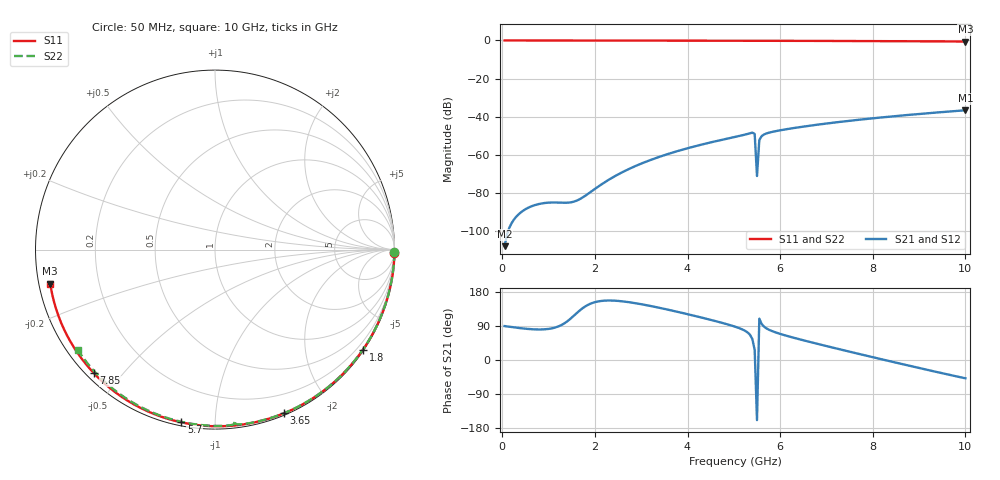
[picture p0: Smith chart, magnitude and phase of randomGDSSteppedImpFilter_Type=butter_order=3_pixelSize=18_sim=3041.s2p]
! freq	dB(S11)	phase(S11)	dB(S12)	phase(S12)
!  dB(S21)	phase(S21)	dB(S22)	phase(S22)
!S-par simulation data
#  GHz  S  DB  R 50
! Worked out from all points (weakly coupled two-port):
!   200 points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, 50 MHz to 10 GHz, reference 50 ohm
!   highest |S21| = -36.55 dB at 10 GHz (marker M1); lowest = -107.7 dB at 50 MHz (marker M2)
!   lowest |S11| = -0.6 dB at 10 GHz (marker M3), VSWR 30.92, Z = 1.63 - j5.11 ohm
!   |S11| at or under -10 dB: nowhere
!   |S22| runs from -0.5 to 0.0 dB; largest |S21 - S12| = 0
!   S11 on the Smith chart (normalised r, x): 50 MHz: open; 1.8 GHz: 0.03, -3.27; 3.65 GHz: 0.02, -1.51; 5.7 GHz: 0.02, -0.82; 7.85 GHz: 0.02, -0.42; 10 GHz: 0.03, -0.10
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0.05  -0.00 -1.0  -107.69 89.5  -107.69 89.5  -0.00 -0.8
0.85  -0.02 -16.3  -85.32 80.6  -85.32 80.6  -0.02 -13.8
1.75  -0.04 -33.1  -81.97 138.0  -81.97 138.0  -0.04 -28.2
1.8  -0.04 -34.0  -81.17 142.0  -81.17 142.0  -0.04 -28.9
1.9  -0.05 -35.9  -79.46 148.4  -79.46 148.4  -0.04 -30.5
2.3  -0.06 -43.2  -72.90 157.0  -72.90 157.0  -0.05 -36.8
2.65  -0.06 -49.5  -68.27 154.0  -68.27 154.0  -0.05 -42.2
3.4  -0.08 -62.8  -60.86 137.5  -60.86 137.5  -0.07 -53.6
3.65  -0.09 -67.1  -58.89 130.9  -58.89 130.9  -0.08 -57.3
4.35  -0.11 -79.0  -54.24 110.6  -54.24 110.6  -0.10 -67.5
5.05  -0.14 -90.5  -50.37 87.0  -50.37 87.0  -0.12 -77.5
5.4  -0.16 -96.2  -48.24 55.3  -48.24 55.3  -0.17 -82.8
5.45  -0.16 -97.0  -48.94 26.5  -48.94 26.5  -0.25 -83.7
5.5  -0.17 -97.8  -70.97 -158.7  -70.97 -158.7  -0.30 -83.1
5.55  -0.17 -98.6  -52.15 109.0  -52.15 109.0  -0.19 -83.8
5.6  -0.17 -99.4  -50.08 95.3  -50.08 95.3  -0.16 -84.6
5.7  -0.17 -101.0  -48.72 83.8  -48.72 83.8  -0.15 -86.2
6.7  -0.23 -116.7  -44.43 45.8  -44.43 45.8  -0.19 -99.8
7.85  -0.32 -134.4  -41.13 11.7  -41.13 11.7  -0.27 -114.8
8.35  -0.37 -142.1  -39.92 -2.7  -39.92 -2.7  -0.31 -121.2
9.2  -0.46 -155.4  -38.08 -26.7  -38.08 -26.7  -0.38 -132.3
10  -0.56 -168.3  -36.55 -48.3  -36.55 -48.3  -0.48 -144.0
